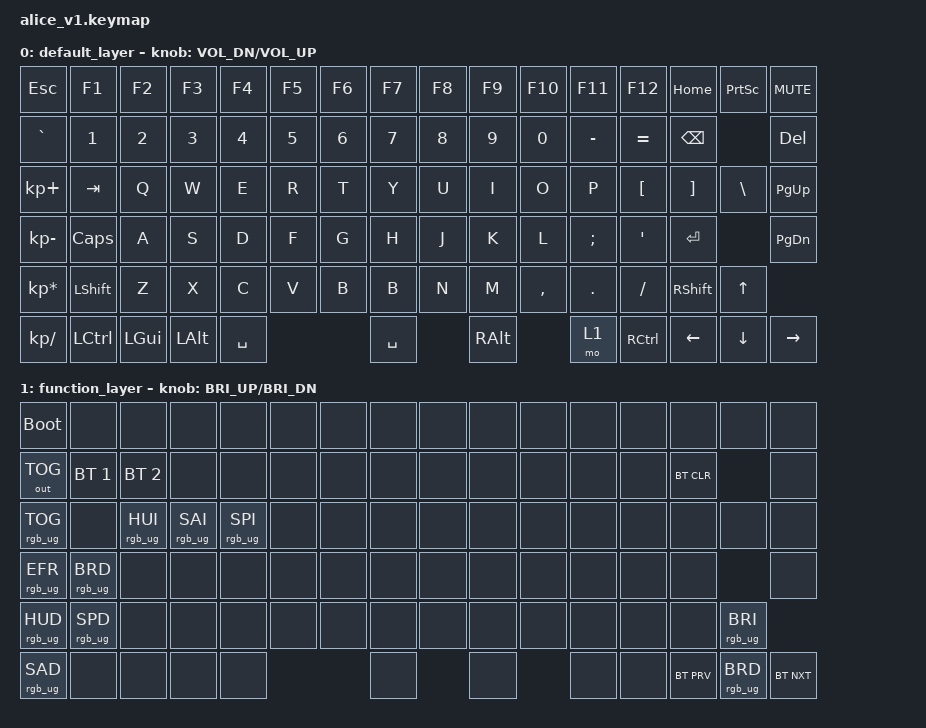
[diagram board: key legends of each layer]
/*
# Copyright (c) 2021 The ZMK Contributors
*
* SPDX-License-Identifier: MIT
*/

#include <behaviors.dtsi>
#include <dt-bindings/zmk/keys.h>
#include <dt-bindings/zmk/rgb.h>
#include <dt-bindings/zmk/bt.h>
#include <dt-bindings/zmk/outputs.h>
/ {
	keymap {
		compatible = "zmk,keymap";
		default_layer {
			bindings = < 
				&kp ESC           &kp F1      &kp F2    &kp F3    &kp F4      &kp F5      &kp F6       &kp F7     &kp F8   &kp F9     &kp F10     &kp F11     &kp F12     &kp HOME       &kp PSCRN     &kp C_MUTE
			    &kp GRAVE         &kp N1      &kp N2    &kp N3    &kp N4      &kp N5      &kp N6       &kp N7     &kp N8   &kp N9     &kp N0      &kp MINUS   &kp EQUAL   &kp BSPC                     &kp DEL
			    &kp KP_PLUS       &kp TAB     &kp Q     &kp W     &kp E       &kp R       &kp T        &kp Y      &kp U    &kp I      &kp O       &kp P       &kp LBKT    &kp RBKT       &kp BSLH      &kp PG_UP
			    &kp KP_SUBTRACT   &kp CAPS    &kp A     &kp S     &kp D       &kp F       &kp G        &kp H      &kp J    &kp K      &kp L       &kp SEMI    &kp APOS    &kp ENTER                    &kp PG_DN
			    &kp KP_MULTIPLY   &kp LSHIFT  &kp Z     &kp X     &kp C       &kp V       &kp B        &kp B      &kp N    &kp M      &kp COMMA   &kp PERIOD  &kp SLASH   &kp RSHIFT     &kp UP        
			    &kp KP_DIVIDE     &kp LCTRL   &kp LGUI  &kp LALT  &kp SPACE                            &kp SPACE           &kp RALT               &mo 1       &kp RCTRL   &kp LEFT       &kp DOWN      &kp RIGHT
			>;
			sensor-bindings = <&inc_dec_kp C_VOL_DN C_VOL_UP>;
		};
       function_layer {
			bindings = <
			    &bootloader       &none            &none             &none               &none            &none                &none    &none      &none    &none     &none        &none     &none        &none       &none       &none
			    &out OUT_TOG      &bt BT_SEL 1     &bt BT_SEL 2      &none               &none            &none                &none    &none      &none    &none     &none        &none     &none        &bt BT_CLR              &none 
			    &rgb_ug RGB_TOG   &none            &rgb_ug RGB_HUI   &rgb_ug RGB_SAI     &rgb_ug RGB_SPI  &none                &none    &none      &none    &none     &none        &none     &none        &none       &none       &none
			    &rgb_ug RGB_EFR   &rgb_ug RGB_BRD  &none             &none               &none            &none                &none    &none      &none    &none     &none        &none     &none        &none                   &none 
			    &rgb_ug RGB_HUD   &rgb_ug RGB_SPD  &none             &none               &none            &none                &none    &none      &none    &none     &none        &none     &none        &none       &rgb_ug RGB_BRI       
			    &rgb_ug RGB_SAD   &none            &none             &none               &none                                          &none               &none                  &none     &none        &bt BT_PRV  &rgb_ug RGB_BRD       &bt BT_NXT
			>;
			sensor-bindings = <&inc_dec_kp C_BRI_UP C_BRI_DN>;
		};
	};
};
